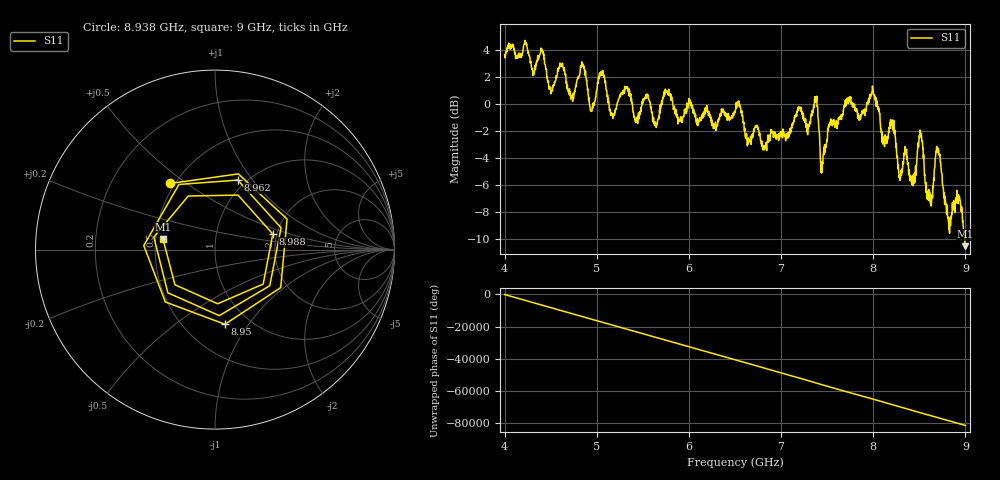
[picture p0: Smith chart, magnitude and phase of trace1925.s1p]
! Created with skrf 1.8.0 (http://scikit-rf.org).
# Hz S RI R 50.0
!freq ReS11 ImS11
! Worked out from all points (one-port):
!   1601 points, 4 GHz to 9 GHz, reference 50 ohm
!   lowest |S11| = -10.6 dB at 9 GHz (marker M1), VSWR 1.84, Z = 27.3 + j3.59 ohm
!   |S11| at or under -10 dB: 8.992465 GHz to end of sweep
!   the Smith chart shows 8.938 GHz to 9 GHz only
!   S11 on the Smith chart (normalised r, x): 8.938 GHz: 0.47, +0.43; 8.95 GHz: 0.77, -0.78; 8.962 GHz: 0.91, +0.85; 8.988 GHz: 1.90, +0.37; 9 GHz: 0.55, +0.07
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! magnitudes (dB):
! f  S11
! 4 GHz  3.6
! 4.625 GHz  2.8
! 4.731 GHz  0.6
! 4.853 GHz  2.9
! 4.944 GHz  -0.6
! 5.05 GHz  2.4
! 5.162 GHz  -0.8
! 5.25 GHz  0.6
! 5.875 GHz  -0.9
! 6.5 GHz  -0.7
! 6.819 GHz  -3.4
! 7.125 GHz  -1.6
! 7.375 GHz  0.5
! 7.45 GHz  -4.4
! 7.75 GHz  0.5
! 8.003 GHz  0.7
! 8.112 GHz  -2.7
! 8.375 GHz  -4.4
! 8.438 GHz  -5.2
! 8.512 GHz  -2.1
! 8.606 GHz  -7.2
! 8.7 GHz  -3.3
! 8.819 GHz  -8.8
! 8.938 GHz  -7.0
! 8.95 GHz  -7.5
! 8.962 GHz  -7.8
! 8.988 GHz  -9.5
! 9 GHz  -10.6
